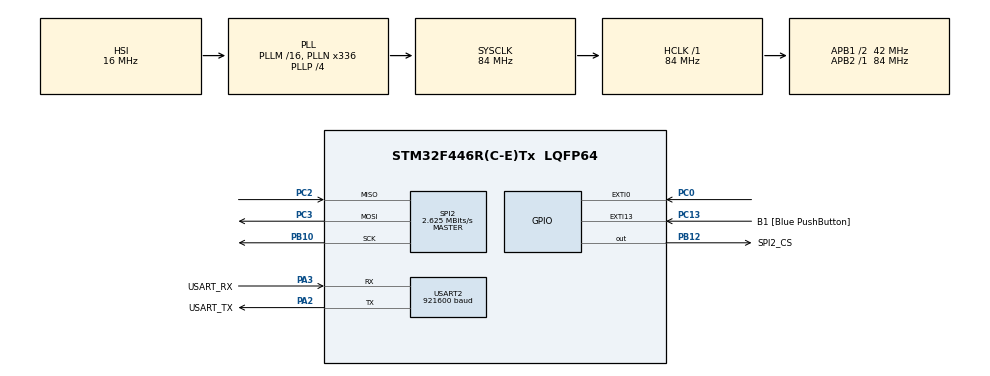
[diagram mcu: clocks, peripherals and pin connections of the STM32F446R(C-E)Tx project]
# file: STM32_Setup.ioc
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Mcu.Family=STM32F4
Mcu.Name=STM32F446R(C-E)Tx
Mcu.Package=LQFP64
NVIC.EXTI0_IRQn=true\:0\:0\:false\:false\:true\:true\:true\:true
NVIC.PriorityGroup=NVIC_PRIORITYGROUP_0
PA13.GPIO_Label=TMS
PA13.Mode=Serial_Wire
PA13.Signal=SYS_JTMS-SWDIO
PA14.GPIO_Label=TCK
PA14.Mode=Serial_Wire
PA14.Signal=SYS_JTCK-SWCLK
PA2.GPIO_Label=USART_TX
PA2.Mode=Asynchronous
PA2.Signal=USART2_TX
PA3.GPIO_Label=USART_RX
PA3.Mode=Asynchronous
PA3.Signal=USART2_RX
PB10.Mode=Full_Duplex_Master
PB10.Signal=SPI2_SCK
PB12.GPIO_Label=SPI2_CS
PB12.Signal=GPIO_Output
PB3.GPIO_Label=SWO
PB3.Signal=SYS_JTDO-SWO
PC0.GPIO_PuPd=GPIO_PULLUP
PC0.Signal=GPXTI0
PC13.GPIO_Label=B1 [Blue PushButton]
PC13.GPIO_ModeDefaultEXTI=GPIO_MODE_IT_FALLING
PC13.Signal=GPXTI13
PC14-OSC32_IN.Mode=LSE-External-Oscillator
PC14-OSC32_IN.Signal=RCC_OSC32_IN
PC15-OSC32_OUT.Mode=LSE-External-Oscillator
PC15-OSC32_OUT.Signal=RCC_OSC32_OUT
PC2.Mode=Full_Duplex_Master
PC2.Signal=SPI2_MISO
PC3.Mode=Full_Duplex_Master
PC3.Signal=SPI2_MOSI
PH0-OSC_IN.Mode=HSE-External-Oscillator
PH0-OSC_IN.Signal=RCC_OSC_IN
PH1-OSC_OUT.Mode=HSE-External-Oscillator
PH1-OSC_OUT.Signal=RCC_OSC_OUT
ProjectManager.HeapSize=0x200
ProjectManager.StackSize=0x400
ProjectManager.TargetToolchain=CMake
RCC.48MHZClocksFreq_Value=84000000
RCC.AHBFreq_Value=84000000
RCC.APB1CLKDivider=RCC_HCLK_DIV2
RCC.APB1Freq_Value=42000000
RCC.APB1TimFreq_Value=84000000
RCC.APB2Freq_Value=84000000
RCC.APB2TimFreq_Value=84000000
RCC.CortexFreq_Value=84000000
RCC.FLatency-AdvancedSettings=FLASH_LATENCY_2
RCC.HCLKFreq_Value=84000000
RCC.HSE_VALUE=8000000
RCC.HSI_VALUE=16000000
RCC.PLLN=336
RCC.PLLP=RCC_PLLP_DIV4
RCC.SYSCLKFreq_VALUE=84000000
RCC.SYSCLKSource=RCC_SYSCLKSOURCE_PLLCLK
RCC.USBFreq_Value=168000000
RCC.VCOOutputFreq_Value=336000000
SPI2.BaudRatePrescaler=SPI_BAUDRATEPRESCALER_16
SPI2.CLKPhase=SPI_PHASE_2EDGE
SPI2.CLKPolarity=SPI_POLARITY_HIGH
SPI2.CalculateBaudRate=2.625 MBits/s
SPI2.Direction=SPI_DIRECTION_2LINES
SPI2.Mode=SPI_MODE_MASTER
SPI2.VirtualType=VM_MASTER
TIM2.Prescaler=83
USART2.BaudRate=921600
USART2.VirtualMode=VM_ASYNC
VP_TIM2_VS_ClockSourceINT.Mode=Internal
board=NUCLEO-F446RE

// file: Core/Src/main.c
/* USER CODE BEGIN Header */
/**
  ******************************************************************************
  * @file           : main.c
  * @brief          : Main program body
  ******************************************************************************
  * @attention
  *
  * Copyright (c) 2025 STMicroelectronics.
  * All rights reserved.
  *
  * This software is licensed under terms that can be found in the LICENSE file
  * in the root directory of this software component.
  * If no LICENSE file comes with this software, it is provided AS-IS.
  *
  ******************************************************************************
  */
/* USER CODE END Header */
#include "main.h"
#include "spi.h"
#include "tim.h"
#include "usart.h"
#include "gpio.h"

/* USER CODE BEGIN Includes */
#include "adxl.h"
#include <stdint.h>
#include <stdio.h>
/* USER CODE END Includes */

/* USER CODE BEGIN PD */
#define RPM_MAX 12000
#define RPM_MIN 700
#define RPM_AVG_WINDOW 8
/* USER CODE END PD */

/* USER CODE BEGIN PV */
ADXL_Handle adxl = {
  .hspi    = &hspi2,
  .cs_port = SPI2_CS_GPIO_Port,
  .cs_pin  = SPI2_CS_Pin,
};
volatile uint32_t rpm = 0;
volatile uint8_t rpm_valid = 0;
volatile uint32_t last_pulse_ms = 0;
/* USER CODE END PV */

void SystemClock_Config(void);

/* USER CODE BEGIN 0 */

#define FIFO_CHUNK 16

static int16_t fifo_buf[FIFO_CHUNK * 3];
static uint32_t sample_id = 0;

static void send_fifo_bin_batch(uint32_t start_id, const int16_t *buf_xyz, uint8_t n)
{
  if (n == 0 || n > 16) return;

  // 2 (SYNC) + 1 (N') + 4 (start_id) + 6*n (XYZ) + 4 (rpm) + 1 (checksum)
  const uint16_t frame_len = (uint16_t)(8 + 6 * n + 4);

  uint8_t frame[8 + 6*16 + 4 + 1];  // max 109 bajtów, mamy zapas

  frame[0] = 0xAA;
  frame[1] = 0x55;
  frame[2] = (uint8_t)(n | 0x80);   // bit7=1 => obecny trailer RPM

  frame[3] = (uint8_t)( start_id        & 0xFF);
  frame[4] = (uint8_t)((start_id >> 8)  & 0xFF);
  frame[5] = (uint8_t)((start_id >> 16) & 0xFF);
  frame[6] = (uint8_t)((start_id >> 24) & 0xFF);

  uint16_t w = 7;
  for (uint8_t i = 0; i < n; ++i) {
    int16_t x = buf_xyz[3*i + 0];
    int16_t y = buf_xyz[3*i + 1];
    int16_t z = buf_xyz[3*i + 2];
    frame[w++] = (uint8_t)(x & 0xFF); frame[w++] = (uint8_t)((uint16_t)x >> 8);
    frame[w++] = (uint8_t)(y & 0xFF); frame[w++] = (uint8_t)((uint16_t)y >> 8);
    frame[w++] = (uint8_t)(z & 0xFF); frame[w++] = (uint8_t)((uint16_t)z >> 8);
  }

  // snapshot RPM (4 bajty LE)
  uint32_t rpm_snapshot = rpm_valid ? rpm : 0;
  frame[w++] = (uint8_t)( rpm_snapshot        & 0xFF);
  frame[w++] = (uint8_t)((rpm_snapshot >> 8 ) & 0xFF);
  frame[w++] = (uint8_t)((rpm_snapshot >> 16) & 0xFF);
  frame[w++] = (uint8_t)((rpm_snapshot >> 24) & 0xFF);

  // checksum: suma z [N', start_id, payload, rpm] (od bajtu 2 do frame_len-2)
  uint8_t sum = 0;
  for (uint16_t i = 2; i < frame_len - 1; ++i)
    sum = (uint8_t)(sum + frame[i]);

  frame[frame_len - 1] = sum;

  HAL_UART_Transmit(&huart2, frame, frame_len, HAL_MAX_DELAY);
}

/* USER CODE END 0 */

int main(void)
{

  /* MCU Configuration--------------------------------------------------------*/

  /* Reset of all peripherals, Initializes the Flash interface and the Systick. */
  HAL_Init();

  /* Configure the system clock */
  SystemClock_Config();

  /* Initialize all configured peripherals */
  MX_GPIO_Init();
  MX_SPI2_Init();
  MX_USART2_UART_Init();
  MX_TIM2_Init();
  /* USER CODE BEGIN 2 */
  HAL_TIM_Base_Start(&htim2);
  HAL_GPIO_WritePin(SPI2_CS_GPIO_Port, SPI2_CS_Pin, GPIO_PIN_SET);
  if (!ADXL_Init(&adxl, ADXL_ODR_1600HZ, ADXL_RANGE_16G, true)) {
    Error_Handler();
  }
  /* USER CODE END 2 */

  /* Infinite loop */
  /* USER CODE BEGIN WHILE */
  while (1)
  {

    int n = ADXL_FifoReadSamples(&adxl, fifo_buf, FIFO_CHUNK);
    if (n > 0) {
      uint32_t start_id = sample_id;
      sample_id += (uint32_t)n;
      send_fifo_bin_batch(start_id, fifo_buf, (uint8_t)n);
    }

    uint32_t now_ms = HAL_GetTick();
    uint32_t timeout_ms = 2 * (60000UL / RPM_MIN); // 2 okresy [ms]
    if (rpm_valid && (now_ms - last_pulse_ms > timeout_ms)) {
      rpm_valid = 0;
      rpm = 0;
    }

    /* USER CODE END WHILE */

  }
}

void SystemClock_Config(void)
{
  RCC_OscInitTypeDef RCC_OscInitStruct = {0};
  RCC_ClkInitTypeDef RCC_ClkInitStruct = {0};

  /** Configure the main internal regulator output voltage
  */
  __HAL_RCC_PWR_CLK_ENABLE();
  __HAL_PWR_VOLTAGESCALING_CONFIG(PWR_REGULATOR_VOLTAGE_SCALE3);

  /** Initializes the RCC Oscillators according to the specified parameters
  * in the RCC_OscInitTypeDef structure.
  */
  RCC_OscInitStruct.OscillatorType = RCC_OSCILLATORTYPE_HSI;
  RCC_OscInitStruct.HSIState = RCC_HSI_ON;
  RCC_OscInitStruct.HSICalibrationValue = RCC_HSICALIBRATION_DEFAULT;
  RCC_OscInitStruct.PLL.PLLState = RCC_PLL_ON;
  RCC_OscInitStruct.PLL.PLLSource = RCC_PLLSOURCE_HSI;
  RCC_OscInitStruct.PLL.PLLM = 16;
  RCC_OscInitStruct.PLL.PLLN = 336;
  RCC_OscInitStruct.PLL.PLLP = RCC_PLLP_DIV4;
  RCC_OscInitStruct.PLL.PLLQ = 2;
  RCC_OscInitStruct.PLL.PLLR = 2;
  if (HAL_RCC_OscConfig(&RCC_OscInitStruct) != HAL_OK)
  {
    Error_Handler();
  }

  /** Initializes the CPU, AHB and APB buses clocks
  */
  RCC_ClkInitStruct.ClockType = RCC_CLOCKTYPE_HCLK|RCC_CLOCKTYPE_SYSCLK
                              |RCC_CLOCKTYPE_PCLK1|RCC_CLOCKTYPE_PCLK2;
  RCC_ClkInitStruct.SYSCLKSource = RCC_SYSCLKSOURCE_PLLCLK;
  RCC_ClkInitStruct.AHBCLKDivider = RCC_SYSCLK_DIV1;
  RCC_ClkInitStruct.APB1CLKDivider = RCC_HCLK_DIV2;
  RCC_ClkInitStruct.APB2CLKDivider = RCC_HCLK_DIV1;

  if (HAL_RCC_ClockConfig(&RCC_ClkInitStruct, FLASH_LATENCY_2) != HAL_OK)
  {
    Error_Handler();
  }
}

/* USER CODE BEGIN 4 */
void HAL_GPIO_EXTI_Callback(uint16_t GPIO_Pin)
{
  if (GPIO_Pin == GPIO_PIN_0)
  {
    static uint32_t last = 0;

    // historia dt do uśredniania
    static uint32_t dt_hist[RPM_AVG_WINDOW];
    static uint8_t  dt_hist_count = 0;
    static uint8_t  dt_hist_idx = 0;
    static uint32_t dt_sum = 0;   // suma dt w oknie

    uint32_t now = __HAL_TIM_GET_COUNTER(&htim2);
    uint32_t dt  = now - last;           // liczy poprawnie także po overflow
    last = now;

    uint32_t dt_min = 60000000UL / RPM_MAX;
    uint32_t dt_max = 60000000UL / RPM_MIN;

    if (dt > dt_min && dt < dt_max)
    {
      // aktualizacja bufora kroczącego
      if (dt_hist_count < RPM_AVG_WINDOW) {
        dt_hist[dt_hist_count++] = dt;
        dt_sum += dt;
      } else {
        dt_sum -= dt_hist[dt_hist_idx];
        dt_hist[dt_hist_idx] = dt;
        dt_sum += dt;
        dt_hist_idx = (uint8_t)((dt_hist_idx + 1) % RPM_AVG_WINDOW);
      }

      uint32_t dt_avg = dt_sum / dt_hist_count;      // średni okres z ostatnich N
      uint32_t new_rpm = 60000000UL / dt_avg;        // RPM z uśrednionego dt

      rpm = new_rpm;
      rpm_valid = 1;
      last_pulse_ms = HAL_GetTick();
    }
    // poza zakresem – ignorujemy jako śmieć
  }
}
/* USER CODE END 4 */

void Error_Handler(void)
{
  __disable_irq();
  while (1)
  {
  }
}
